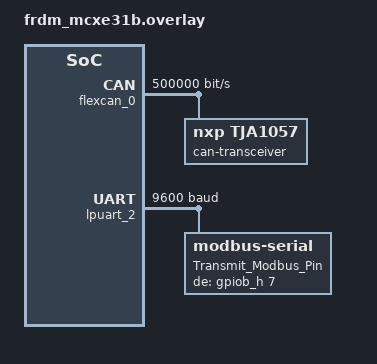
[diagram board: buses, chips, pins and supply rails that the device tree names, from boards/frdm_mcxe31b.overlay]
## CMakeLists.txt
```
# SPDX-License-Identifier: Apache-2.0

cmake_minimum_required(VERSION 3.20.0)


find_package(Zephyr REQUIRED HINTS $ENV{ZEPHYR_BASE})
project(CAN)

zephyr_compile_definitions(CONFIG_CAN_MAX_MB=96)

# FLEXCAN_0 -> CONFIG_CAN_MAX_MB=96
# FLEXCAN_1 -> CONFIG_CAN_MAX_MB=64
# FLEXCAN_2 -> CONFIG_CAN_MAX_MB=64
# FLEXCAN_3 -> CONFIG_CAN_MAX_MB=32
# FLEXCAN_4 -> CONFIG_CAN_MAX_MB=32
# FLEXCAN_5 -> CONFIG_CAN_MAX_MB=32

target_sources(app PRIVATE src/main.c)
```

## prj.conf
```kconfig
CONFIG_POLL=y
CONFIG_CAN=y
CONFIG_CAN_INIT_PRIORITY=80
CONFIG_CAN_MCUX_FLEXCAN=y
CONFIG_CAN_MAX_FILTER=8

CONFIG_SHELL=y
CONFIG_CAN_SHELL=y
CONFIG_DEVICE_SHELL=y

CONFIG_GPIO=y
CONFIG_CAN_STATS=y

CONFIG_GPIO=y
CONFIG_SERIAL=y
CONFIG_UART_INTERRUPT_DRIVEN=y
CONFIG_UART_LINE_CTRL=n

CONFIG_MODBUS=y
CONFIG_MODBUS_ROLE_CLIENT=y

CONFIG_CONSOLE=y
CONFIG_CONSOLE_SUBSYS=y
CONFIG_CONSOLE_GETCHAR=y
CONFIG_CBPRINTF_FP_SUPPORT=y
```

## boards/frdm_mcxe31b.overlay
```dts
/ {
    chosen {
        zephyr,canbus = &flexcan_0;
    };
};

&pinctrl {
    flexcan0_default: flexcan0_default {
        group1 {
            pinmux = <PTA6_CAN0_RX>;
            slew-rate = "fastest";
            input-enable;
        };
        group2 {
            pinmux = <PTA7_CAN0_TX>;
            slew-rate = "fastest";
            output-enable;
        };
    };
    
    pinmux_lpuart2: pinmux_lpuart2 {
        group0 {
            pinmux = <PTD17_LPUART2_RX>,
                     <PTE12_LPUART2_TX_O>;
            slew-rate = "fastest";
            input-enable;
        };
    };
};

&flexcan_0 {
    status = "okay";
    bitrate = <500000>;
    sample-point = <875>;

	pinctrl-0 = <&flexcan0_default>;
    pinctrl-names = "default";

	
    can-transceiver {
		compatible = "nxp,tja1057";
    	max-bitrate = <1000000>;
    };
};


&lpuart_2 {
    status = "okay";
    current-speed = <9600>;

	pinctrl-0 = <&pinmux_lpuart2>;
    pinctrl-names = "default";

    modbus0: modbus {
        compatible = "zephyr,modbus-serial";
        status = "okay";

		de-gpios = <&gpiob_h 7 GPIO_ACTIVE_HIGH>;
		label = "Transmit_Modbus_Pin";
    };
};
```

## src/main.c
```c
/*
 * Copyright 2026 NXP
 *
 * SPDX-License-Identifier: Apache-2.0
 */

#include <stdio.h>

#include <zephyr/kernel.h>
#include <zephyr/sys/printk.h>
#include <zephyr/device.h>
#include <zephyr/drivers/can.h>
#include <zephyr/drivers/gpio.h>
#include <zephyr/sys/byteorder.h>
#include <zephyr/modbus/modbus.h>
#include <zephyr/sys/util.h>
#include <zephyr/logging/log.h>
#include <zephyr/console/console.h>


#include <zephyr/device.h>
#include "fsl_clock.h"

// Definitions ------------------------------
#define INPUT_THRESHOLD_THREAD_STACK_SIZE 512
#define INPUT_THRESHOLD_THREAD_PRIORITY 2

#define STATE_RELAY_MSG_ID 0x10

#define MODBUS_NODE DT_COMPAT_GET_ANY_STATUS_OKAY(zephyr_modbus_serial)
#define TEMP_SENSOR_ID		0x03
#define DISPLAY_ID			0x01

#define DEFAULT_THRESHOLD 25.0
#define HYSTERESIS_UP     1.5
#define HYSTERESIS_DOWN   1.5

K_SEM_DEFINE(sem_thld, 1, 1)


typedef struct _can_relay_states_t
{
	uint8_t relay_1;
	uint8_t relay_2;
	uint8_t relay_3;
} can_relay_states_t;
// ------------------------------------------

// Threads ----------------------------------
K_THREAD_STACK_DEFINE(input_threshold_stack, INPUT_THRESHOLD_THREAD_STACK_SIZE);

struct k_thread input_threshold_thread_data;

void input_threshold_thread(void *arg1, void *arg2, void *arg3);
// ------------------------------------------

// Modbus -----------------------------------
LOG_MODULE_REGISTER(mbc_sample, LOG_LEVEL_INF);

static int client_iface;
const static struct modbus_iface_param client_param = {
	.mode = MODBUS_MODE_RTU,
	.rx_timeout = 50000,
	.serial = {
		.baud = 9600,
		.parity = UART_CFG_PARITY_NONE,
	},
};

static int init_modbus(void);
// ------------------------------------------

// Peripherals ------------------------------
const struct device *const can_dev = DEVICE_DT_GET(DT_CHOSEN(zephyr_canbus));
// ------------------------------------------

// App variables ----------------------------
static float g_threshold = DEFAULT_THRESHOLD;
// ------------------------------------------



int main(void)
{
	k_tid_t get_state_tid;
	int32_t stat;
	uint16_t buff[2];
	float temp;
	can_relay_states_t *relay_states = 0;

	struct can_frame state_relay_frame = {
		.flags = CAN_FRAME_IDE,
		.id = STATE_RELAY_MSG_ID,
		.dlc = 2
	};
	relay_states = (can_relay_states_t*)state_relay_frame.data;

	printk("-------- Modbus CAN FRDM-MCXE31B --------\n\r");

	// Modbus init ---------------------------------------------
	if (init_modbus()) {
		LOG_ERR("Modbus RTU client initialization failed");
		return 0;
	}
	printk("Modbus started, waiting devices ...\n\r");
	k_msleep(2000);
	// ---------------------------------------------------------

	// Set decimal point in LDC --------------------------------
	printk("Setting decimal point of display\n\r");
	modbus_write_holding_reg(client_iface, DISPLAY_ID, 0x0001, 0x02);
	k_msleep(200);
	// ---------------------------------------------------------

	// Attach clocks and reinit FlexCAN ------------------------
    CLOCK_SetClkDiv(kCLOCK_DivFlexcan012PeClk, 1U);
    CLOCK_AttachClk(kAIPS_PLAT_CLK_to_FLEXCAN012_PE);
	can_dev->state->initialized = false;
	can_dev->state->init_res = 0;
	z_impl_device_init(can_dev);
	// ---------------------------------------------------------

	// Check if device is initialized --------------------------
	if (!device_is_ready(can_dev)) {
		printk("CAN: Device %s not ready.\n", can_dev->name);
		return 0;
	}
	// ---------------------------------------------------------

	// Set CAN mode --------------------------------------------
	stat = can_set_mode(can_dev, CAN_MODE_NORMAL);
	if (stat != 0) {
		printk("Error setting CAN mode [%d]", stat);
		return 0;
	}
	// ---------------------------------------------------------

	// Start CAN -----------------------------------------------
	stat = can_start(can_dev);
	if (stat != 0) {
		printk("Error starting CAN controller [%d]", stat);
		return 0;
	}
	// ---------------------------------------------------------

	// For threshold input -------------------------------------
	console_init(); 
	// ---------------------------------------------------------

	// Input threshold thread ----------------------------------
	get_state_tid = k_thread_create(&input_threshold_thread_data,
					input_threshold_stack,
					K_THREAD_STACK_SIZEOF(input_threshold_stack),
					input_threshold_thread, NULL, NULL, NULL,
					INPUT_THRESHOLD_THREAD_PRIORITY, 0,
					K_NO_WAIT);
	if (!get_state_tid) {
		printk("ERROR spawning poll_state_thread\n");
	}
	// ---------------------------------------------------------

	printk("Finished init.\n");
	// Default state -------------------------------------------
	relay_states->relay_1 = 1;
	relay_states->relay_2 = 0;
	relay_states->relay_3 = 0;
	can_send(can_dev, &state_relay_frame, K_MSEC(100), NULL, NULL);
	// ---------------------------------------------------------

	while (1)
	{
		stat = modbus_read_holding_regs(client_iface, TEMP_SENSOR_ID, 0x0000, buff, 2);
		k_msleep(200);
		if(!stat)
		{
			temp = ((float)buff[0])/((float)10);
			printk("Temperature: %.1f\n\r", (double)temp);
			modbus_write_holding_reg(client_iface, DISPLAY_ID, 0x0000, (uint16_t)(temp*100));
			
			k_sem_take(&sem_thld, K_FOREVER);
			if(temp > (g_threshold+(float)HYSTERESIS_UP))
			{
				relay_states->relay_1 = 1;
				relay_states->relay_2 = 0;
				relay_states->relay_3 = 0;
			}
			else if(temp < (g_threshold-(float)HYSTERESIS_DOWN))
			{
				relay_states->relay_1 = 0;
				relay_states->relay_2 = 1;
				relay_states->relay_3 = 0;
			}
			k_sem_give(&sem_thld);
			can_send(can_dev, &state_relay_frame, K_MSEC(100), NULL, NULL);
		}
		else
		{
			printk("Error reading temperature sensor\n\r");
			modbus_write_holding_reg(client_iface, DISPLAY_ID, 0x0000, 0000);
			*((uint16_t*)(state_relay_frame.data)) = 0;
			can_send(can_dev, &state_relay_frame, K_MSEC(100), NULL, NULL);
		}
		k_msleep(2000);
	}
}


void input_threshold_thread(void *arg1, void *arg2, void *arg3)
{
	uint8_t index;
	char character;
	char buff[5];

	index = 0;
	while(1)
	{
		character = console_getchar();

		if(index >= 5)
		{
			printk("\n\rInvalid data\n\r");
			index = 0;
		}
		else
		{
			if(character == '\n' || character == '\r')
			{
				k_sem_take(&sem_thld, K_FOREVER);
				if(sscanf(buff, "%f", &g_threshold) > 0)
				{
					printk("New Threshold: %.1f\n\r", (double)g_threshold);
				}
				else
				{
					printk("Threshold: %.1f\n\r", (double)g_threshold);
				}
				k_sem_give(&sem_thld);
				index = 0;
			}
			else
			{
				buff[index++] = character;
				buff[index] = 0;
				printk("Set threshold: %s\n\r", buff);
			}
		}
		k_msleep(100);
	}
}

static int init_modbus(void)
{
	const char iface_name[] = {DEVICE_DT_NAME(MODBUS_NODE)};

	client_iface = modbus_iface_get_by_name(iface_name);

	return modbus_init_client(client_iface, client_param);
}
```
